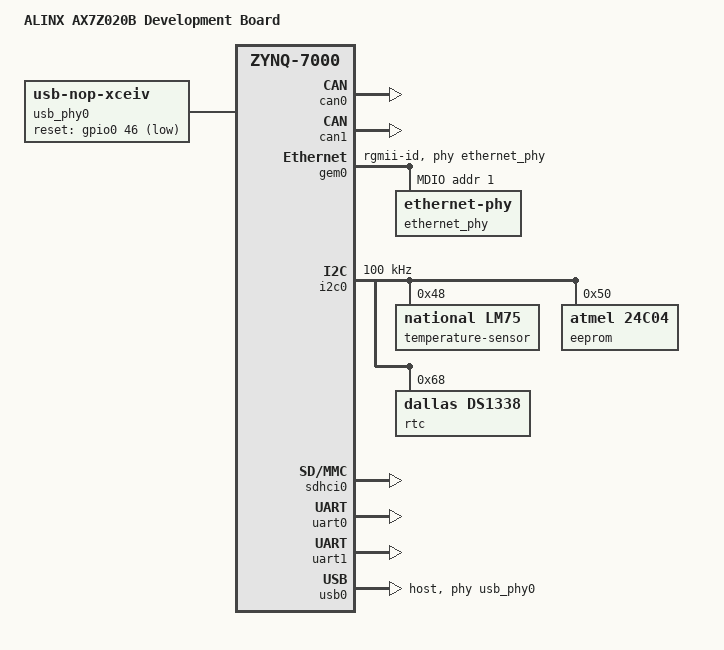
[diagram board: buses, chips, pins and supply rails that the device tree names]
// SPDX-License-Identifier: GPL-2.0
/*
 * DTS for ALINX AX7Z020B Development Board
 *
 * Copyright (C) 2026 Pufan Jin <cyan2254650260@gmail.com>
 */

/dts-v1/;
#include "zynq-alinx-ac7z020.dtsi"
#include <dt-bindings/gpio/gpio.h>
#include <dt-bindings/leds/common.h>

/ {
	model = "ALINX AX7Z020B Development Board";
	compatible = "alinx,ax7z020b", "alinx,ac7z020", "xlnx,zynq-7000";

	aliases {
		ethernet0 = &gem0;
		serial0 = &uart1;
		serial1 = &uart0;
		mmc0 = &sdhci0;
		spi0 = &qspi;
		i2c0 = &i2c0;
	};

	chosen {
		stdout-path = "serial0:115200n8";
	};

	usb_phy0: phy {
		compatible = "usb-nop-xceiv";
		#phy-cells = <0>;
		reset-gpios = <&gpio0 46 GPIO_ACTIVE_LOW>;
	};
};

&adc {
	xlnx,channels {
		#address-cells = <1>;
		#size-cells = <0>;

		/* AD1: XADC_AD1P/N, E17/D18 */
		channel@2 {
			reg = <2>;
		};

		/* AD9: XADC_AD9P/N, E18/E19 */
		channel@a {
			reg = <10>;
		};

		/* Spare pair: XADC_AD12P/N, F19/F20 */
		channel@d {
			reg = <13>;
		};
	};
};

&can0 {
	status = "okay";
};

&can1 {
	status = "okay";
};

&gem0 {
	phy-mode = "rgmii-id";
	phy-handle = <&ethernet_phy>;

	status = "okay";

	mdio {
		#address-cells = <1>;
		#size-cells = <0>;

		ethernet_phy: ethernet-phy@1 {
			reg = <1>;

			leds {
				#address-cells = <1>;
				#size-cells = <0>;

				led@0 {
					reg = <0>;
					color = <LED_COLOR_ID_GREEN>;
					function = LED_FUNCTION_LAN;
					default-state = "keep";
				};

				led@1 {
					reg = <1>;
					color = <LED_COLOR_ID_YELLOW>;
					function = LED_FUNCTION_ACTIVITY;
					default-state = "keep";
				};
			};
		};
	};
};

&i2c0 {
	clock-frequency = <100000>;

	status = "okay";

	temperature-sensor@48 {
		compatible = "national,lm75";
		reg = <0x48>;
	};

	eeprom@50 {
		compatible = "atmel,24c04";
		reg = <0x50>;
		pagesize = <16>;
	};

	rtc@68 {
		compatible = "dallas,ds1338";
		reg = <0x68>;
	};
};

&sdhci0 {
	bootph-all;
	disable-wp;

	status = "okay";
};

&uart0 {
	status = "okay";
};

&uart1 {
	bootph-all;

	status = "okay";
};

&usb0 {
	dr_mode = "host";
	usb-phy = <&usb_phy0>;

	status = "okay";
};
